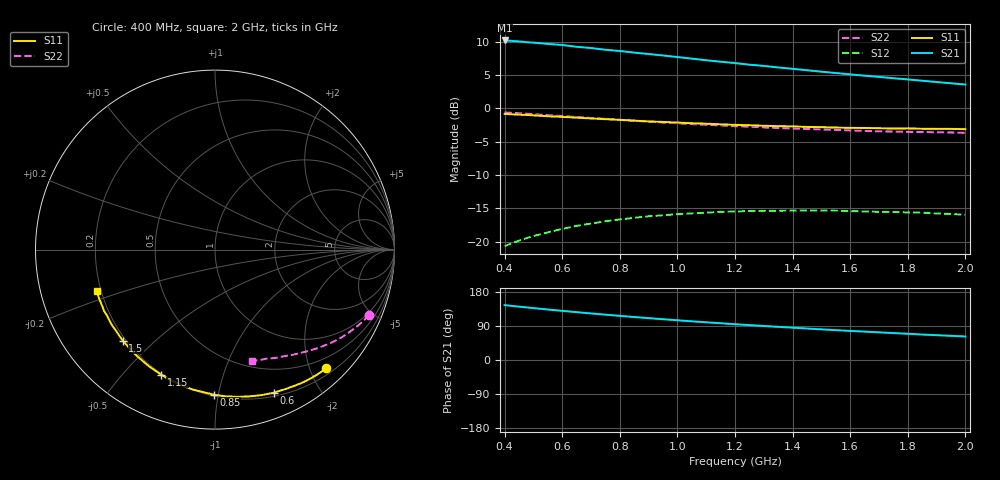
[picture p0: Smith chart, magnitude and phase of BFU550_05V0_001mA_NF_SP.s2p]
! Filename:  P:\Prog\Test\Noise\ATS_data\Testdata_Net\06 Compressed Noise after Statistics\BFU550_APG2013_43_D05_05p0V_001mA_NF_CM01_D.sf
! Date/Time: Fri 26/Apr/2013 13:07:21
! BFU550_APG2013_43_D05_05p0V_1to35mA_NF_CM01_Bias1_R.sf
! Noise Parameter Data File
! BFU550_APG2013_43_D05_05p0V_1to35mA_NF_CM01
! Date/time: Thu Apr 25 16:23:08 2013
! freq range =  0.4000 to  2.0000 GHz, 37 points
! bias range =  0.9950 to 34.9950 mA, 8 points
! bias supplies used: 1 1 0 0 0 0
! VAR bias_mode= 1  ! Specify V_out, I_out
! VAR bias_var = 1  ! Bias variable = I_out
! VAR V_out= 5.001000
! VAR I_out= 0.995000
! VAR V_in= 0.777100
! VAR I_in= 0.010500
! Device data file deembeded for feedlines and parallel
! Original file: \06 Compressed Noise after Statistics\BFU550_APG2013_43_D05_05p0V_001mA_NF_CM01_R.sf
! Feed-files: PR047V01_250413_Feed1.s2p, PR047V01_250413_Feed2.s2p
! Parallel-file: PR047V01_250413_Par.s2p
# MHz S MA R 50
!  Freq-MHz  S11-mag  S11-arg  S21-mag  S21-arg  S12-mag  S12-arg  S22-mag  S22-arg
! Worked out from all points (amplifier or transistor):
!   37 points, 400 MHz to 2 GHz, reference 50 ohm
!   highest |S21| = 10.2 dB at 400 MHz (marker M1)
!   |S21| within 3 dB of that: start of sweep to 1.108 GHz
!   unconditionally stable (mu >= 1): nowhere
!   at 500 MHz: K = 0.14, MSG = 14.5 dB, |S12| = -19.2 dB
!   at 1.1 GHz: K = 0.29, MSG = 11.4 dB, |S12| = -15.7 dB
!   at 2 GHz: K = 0.54, MSG = 9.8 dB, |S12| = -16.0 dB
!   lowest NFmin = 0.43 dB at 1.8 GHz
!   S11 on the Smith chart (normalised r, x): 400 MHz: 0.30, -2.28; 600 MHz: 0.24, -1.47; 850 MHz: 0.21, -0.97; 1.15 GHz: 0.20, -0.64; 1.5 GHz: 0.19, -0.40; 2 GHz: 0.18, -0.17
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400  0.9075 -46.8  3.222 144.8  0.09266 60.5  0.9311 -22.9
440  0.8986 -51.2  3.18 141.6  0.1001 57.9  0.9207 -25.0
460  0.894 -53.3  3.155 140.1  0.1037 56.5  0.9159 -26.0
480  0.8902 -55.4  3.119 138.5  0.107 55.3  0.909 -26.9
500  0.8848 -57.5  3.104 137.0  0.1103 54.0  0.9032 -27.9
550  0.8715 -62.8  3.036 133.2  0.1176 51.0  0.8874 -30.2
600  0.8619 -67.7  2.98 129.7  0.1249 48.2  0.8737 -32.4
650  0.8508 -72.4  2.888 126.3  0.1315 45.4  0.8607 -34.4
700  0.839 -77.3  2.827 122.8  0.1368 42.6  0.8458 -36.5
750  0.8286 -81.7  2.744 119.7  0.1424 40.2  0.833 -38.3
800  0.819 -86.2  2.686 116.5  0.1469 37.7  0.8186 -40.2
850  0.8083 -90.4  2.612 113.4  0.151 35.4  0.8063 -41.8
950  0.7903 -98.6  2.487 107.6  0.1578 30.9  0.7818 -45.2
1050  0.7727 -106.2  2.355 102.0  0.1632 26.8  0.761 -48.3
1150  0.7583 -113.3  2.233 97.0  0.1676 23.2  0.7445 -51.0
1200  0.7511 -116.9  2.181 94.4  0.1684 21.3  0.7338 -52.6
1350  0.7349 -126.4  2.023 87.5  0.1708 16.4  0.7112 -56.4
1500  0.7224 -135.4  1.88 80.9  0.1712 12.0  0.6943 -60.1
1600  0.7127 -141.1  1.795 76.7  0.1696 9.2  0.6819 -62.6
1750  0.7048 -148.8  1.679 71.0  0.1672 5.7  0.6694 -65.9
1850  0.7024 -153.7  1.608 67.2  0.1651 3.5  0.6645 -68.0
2000  0.6974 -160.4  1.506 62.0  0.1592 0.6  0.6542 -71.4
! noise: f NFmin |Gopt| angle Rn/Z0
400  0.5425  0.6431  26.71  0.3405
460  0.5635  0.619  37.52  0.3253
600  0.607  0.6307  45.9  0.298
800  0.7096  0.6468  61.61  0.2891
1000  0.7788  0.6514  76.43  0.2651
1200  0.8778  0.6462  88.88  0.2442
1400  0.7405  0.6644  105.5  0.184
1600  0.896  0.5369  115.5  0.1635
1800  0.4257  0.567  134.5  0.0706
2000  1.197  0.6928  140.3  0.0985
